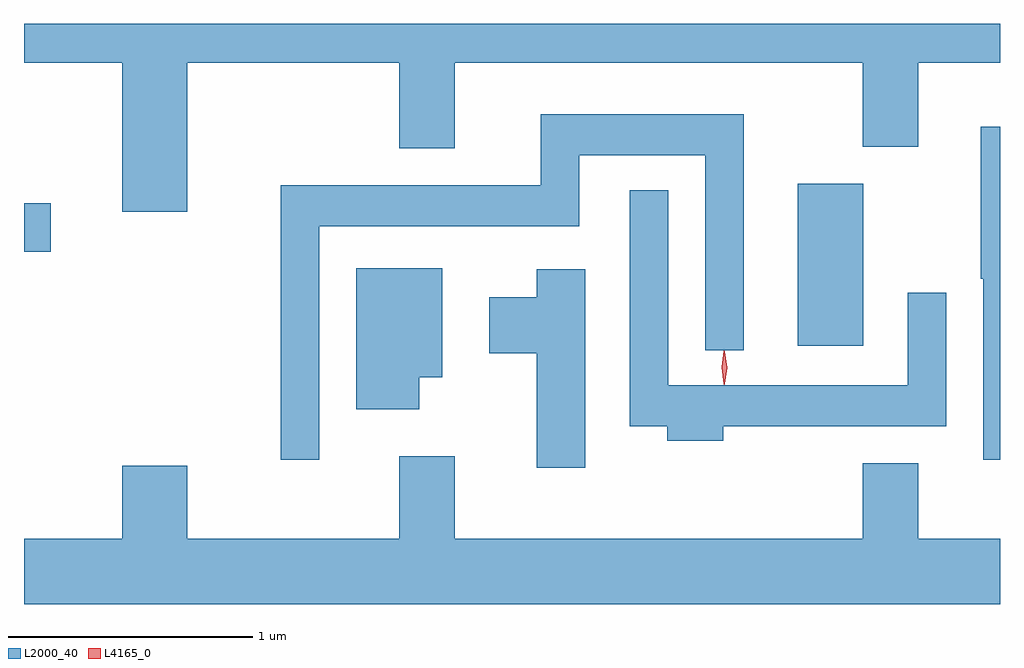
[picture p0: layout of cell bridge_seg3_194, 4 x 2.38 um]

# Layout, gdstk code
import gdstk
lib = gdstk.Library(unit=1e-6, precision=1e-09)
def R(c, l, rs):  # rectangles x0, y0, x1, y1
    for r in rs: c.add(gdstk.rectangle(r[:2], r[2:], *l))
def P(c, l, *ps):  # polygons
    for p in ps: c.add(gdstk.Polygon(p, *l))
L2000_40 = (2000, 40)
L4165_0 = (4165, 0)

bridge_seg3_194 = lib.new_cell('bridge_seg3_194')
R(bridge_seg3_194, L2000_40, [(897.166,1184.796,897.434,1185.459), (893.994,1185.181,894.104,1185.379)])
P(bridge_seg3_194, L2000_40, [(894.664,1185.956),(895.531,1185.956),(895.531,1185.606),(895.759,1185.606),(895.759,1185.956),(897.431,1185.956),(897.431,1185.611),(897.659,1185.611),(897.659,1185.956),(897.994,1185.956),(897.994,1186.116),(893.994,1186.116),(893.994,1185.956),(894.396,1185.956),(894.396,1185.346),(894.664,1185.346)],
  [(895.204,1185.286),(896.269,1185.286),(896.269,1185.576),(896.786,1185.576),(896.786,1184.778),(896.944,1184.778),(896.944,1185.744),(896.111,1185.744),(896.111,1185.454),(895.046,1185.454),(895.046,1184.328),(895.204,1184.328)],
  [(897.994,1185.694),(897.916,1185.694),(897.916,1185.07),(897.926,1185.07),(897.926,1184.328),(897.994,1184.328)],
  [(896.859,1184.466),(897.774,1184.466),(897.774,1185.013),(897.616,1185.013),(897.616,1184.634),(896.634,1184.634),(896.634,1185.433),(896.476,1185.433),(896.476,1184.466),(896.631,1184.466),(896.631,1184.406),(896.859,1184.406)],
  [(895.614,1184.666),(895.709,1184.666),(895.709,1185.114),(895.356,1185.114),(895.356,1184.536),(895.614,1184.536)],
  [(896.294,1185.109),(896.096,1185.109),(896.096,1184.994),(895.901,1184.994),(895.901,1184.766),(896.096,1184.766),(896.096,1184.296),(896.294,1184.296)],
  [(897.994,1184.004),(897.659,1184.004),(897.659,1184.314),(897.431,1184.314),(897.431,1184.004),(895.759,1184.004),(895.759,1184.344),(895.531,1184.344),(895.531,1184.004),(894.664,1184.004),(894.664,1184.304),(894.396,1184.304),(894.396,1184.004),(893.994,1184.004),(893.994,1183.736),(897.994,1183.736)])
P(bridge_seg3_194, L4165_0, [(896.863,1184.637),(896.862,1184.638),(896.853,1184.707),(896.862,1184.776),(896.863,1184.776),(896.864,1184.776),(896.873,1184.707),(896.864,1184.638)],
  [(896.866,1184.639),(896.865,1184.64),(896.856,1184.706),(896.865,1184.772),(896.866,1184.773),(896.866,1184.772),(896.876,1184.706),(896.866,1184.64)])

lib.write_gds('bridge_seg3_194.gds')
